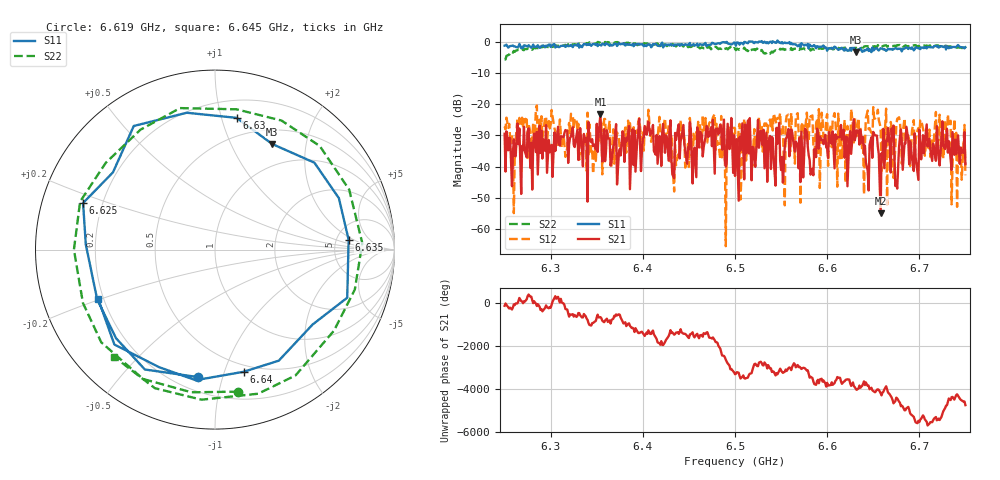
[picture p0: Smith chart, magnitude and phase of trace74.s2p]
# Hz S RI R 50
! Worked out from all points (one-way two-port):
!   401 points, 6.25 GHz to 6.75 GHz, reference 50 ohm
!   highest |S21| = -23.19 dB at 6.354 GHz (marker M1); lowest = -54.8 dB at 6.658 GHz (marker M2)
!   lowest |S11| = -3.5 dB at 6.631 GHz (marker M3), VSWR 5.04, Z = 34.1 + j72.7 ohm
!   |S11| at or under -10 dB: nowhere
!   |S22| runs from -5.7 to 0.0 dB; largest |S21 - S12| = 0.13
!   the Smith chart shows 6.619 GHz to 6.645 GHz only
!   S11 on the Smith chart (normalised r, x): 6.619 GHz: 0.29, -0.83; 6.625 GHz: 0.13, +0.17; 6.63 GHz: 0.34, +1.12; 6.635 GHz: 6.48, +1.61; 6.64 GHz: 0.44, -1.16; 6.645 GHz: 0.18, -0.20
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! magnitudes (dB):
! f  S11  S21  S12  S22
! 6.25 GHz  -1.3  -29.5  -27.1  -5.7
! 6.26 GHz  -1.5  -31.3  -54.9  -3.0
! 6.271 GHz  -1.2  -27.3  -24.2  -2.7
! 6.334 GHz  -1.8  -34.8  -32.3  -0.7
! 6.354 GHz  -1.1  -23.2  -27.2  -0.4
! 6.418 GHz  -1.4  -30.2  -24.1  -1.3
! 6.475 GHz  -0.4  -33.5  -25.8  -2.2
! 6.489 GHz  -0.4  -38.0  -35.6  -2.3
! 6.5 GHz  -0.4  -43.0  -27.7  -2.3
! 6.584 GHz  -1.6  -40.7  -23.6  -2.4
! 6.619 GHz  -2.9  -37.2  -25.0  -1.9
! 6.625 GHz  -2.2  -28.7  -35.4  -2.1
! 6.63 GHz  -2.6  -31.6  -24.3  -1.8
! 6.631 GHz  -3.5  -30.2  -27.0  -2.0
! 6.635 GHz  -2.5  -32.9  -32.0  -1.7
! 6.64 GHz  -3.1  -35.9  -48.9  -1.6
! 6.645 GHz  -3.0  -47.6  -28.0  -1.7
! 6.652 GHz  -2.3  -30.0  -24.6  -1.5
! 6.658 GHz  -2.1  -54.8  -27.4  -1.6
! 6.668 GHz  -2.5  -33.0  -32.8  -1.4
! 6.731 GHz  -1.8  -35.5  -23.3  -1.8
! 6.75 GHz  -1.8  -39.2  -42.7  -2.2
